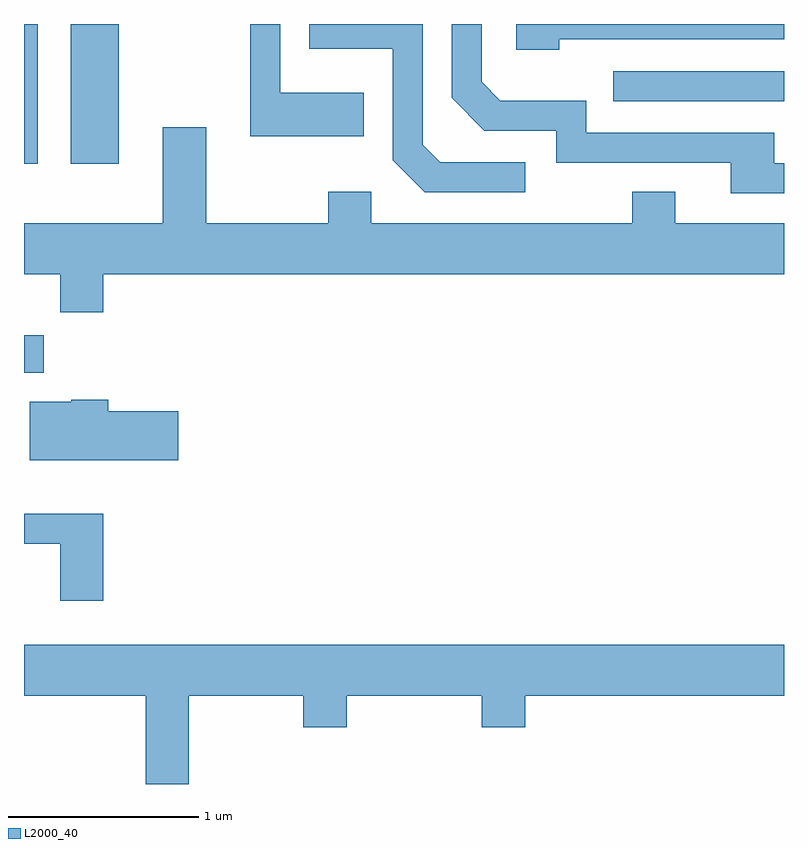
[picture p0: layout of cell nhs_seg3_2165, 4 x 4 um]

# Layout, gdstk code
import gdstk
lib = gdstk.Library(unit=1e-6, precision=1e-09)
def R(c, l, rs):  # rectangles x0, y0, x1, y1
    for r in rs: c.add(gdstk.rectangle(r[:2], r[2:], *l))
def P(c, l, *ps):  # polygons
    for p in ps: c.add(gdstk.Polygon(p, *l))
L2000_40 = (2000, 40)

nhs_seg3_2165 = lib.new_cell('nhs_seg3_2165')
R(nhs_seg3_2165, L2000_40, [(247.611,1232.056,247.714,1232.254), (247.611,1233.156,247.684,1233.892), (247.856,1233.156,248.109,1233.892), (250.713,1233.486,251.611,1233.644)])
P(nhs_seg3_2165, L2000_40, [(249.399,1233.529),(248.959,1233.529),(248.959,1233.892),(248.801,1233.892),(248.801,1233.301),(249.399,1233.301)],
  [(250.429,1233.811),(251.611,1233.811),(251.611,1233.892),(250.201,1233.892),(250.201,1233.756),(250.429,1233.756)],
  [(251.611,1233.159),(251.559,1233.159),(251.559,1233.319),(250.569,1233.319),(250.569,1233.489),(250.117,1233.489),(250.019,1233.587),(250.019,1233.892),(249.861,1233.892),(249.861,1233.504),(250.034,1233.331),(250.411,1233.331),(250.411,1233.161),(251.331,1233.161),(251.331,1233.001),(251.611,1233.001)],
  [(250.248,1233.164),(249.802,1233.164),(249.709,1233.257),(249.709,1233.892),(249.111,1233.892),(249.111,1233.761),(249.551,1233.761),(249.551,1233.174),(249.719,1233.006),(250.248,1233.006)],
  [(248.029,1232.576),(251.611,1232.576),(251.611,1232.844),(251.039,1232.844),(251.039,1233.009),(250.811,1233.009),(250.811,1232.844),(249.439,1232.844),(249.439,1233.009),(249.211,1233.009),(249.211,1232.844),(248.569,1232.844),(248.569,1233.349),(248.341,1233.349),(248.341,1232.844),(247.611,1232.844),(247.611,1232.576),(247.801,1232.576),(247.801,1232.376),(248.029,1232.376)],
  [(248.424,1231.854),(248.054,1231.854),(248.054,1231.914),(247.86,1231.914),(247.86,1231.904),(247.641,1231.904),(247.641,1231.596),(248.424,1231.596)],
  [(248.029,1231.314),(247.611,1231.314),(247.611,1231.156),(247.801,1231.156),(247.801,1230.856),(248.029,1230.856)],
  [(247.611,1230.356),(248.251,1230.356),(248.251,1229.892),(248.479,1229.892),(248.479,1230.356),(249.081,1230.356),(249.081,1230.191),(249.309,1230.191),(249.309,1230.356),(250.021,1230.356),(250.021,1230.191),(250.249,1230.191),(250.249,1230.356),(251.611,1230.356),(251.611,1230.624),(247.611,1230.624)])

lib.write_gds('nhs_seg3_2165.gds')
